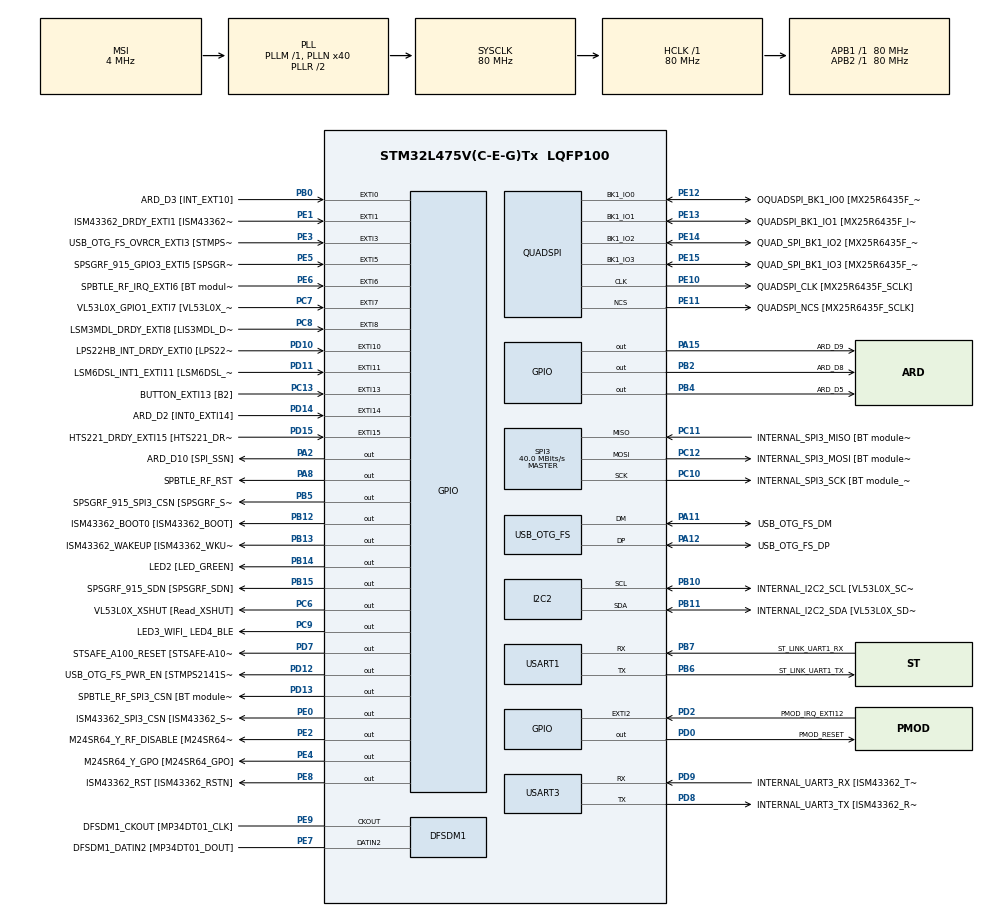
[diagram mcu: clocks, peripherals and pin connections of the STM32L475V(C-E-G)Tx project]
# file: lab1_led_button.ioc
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FREERTOS.BinarySemaphores01=buttonSem,Dynamic,NULL,Depleted;timerSem,Dynamic,NULL,Depleted;ledSem,Dynamic,NULL,Available
FREERTOS.Queues01=buttonTaskQueue,16,uint16_t,0,Dynamic,NULL,NULL
FREERTOS.Tasks01=Task1,24,128,StartTask1,Default,NULL,Dynamic,NULL,NULL;Task2,24,128,StartTask2,Default,NULL,Dynamic,NULL,NULL
I2C2.Timing=0x10D19CE4
Mcu.Family=STM32L4
Mcu.Name=STM32L475V(C-E-G)Tx
Mcu.Package=LQFP100
NVIC.EXTI15_10_IRQn=true\:5\:0\:false\:false\:true\:true\:true\:true\:true
NVIC.EXTI9_5_IRQn=true\:5\:0\:false\:false\:true\:true\:true\:true\:true
NVIC.PriorityGroup=NVIC_PRIORITYGROUP_4
NVIC.TIM6_DAC_IRQn=true\:15\:0\:false\:false\:true\:false\:false\:true\:true
NVIC.TIM7_IRQn=true\:5\:0\:false\:false\:true\:true\:true\:true\:true
NVIC.TimeBase=TIM6_DAC_IRQn
NVIC.TimeBaseIP=TIM6
PA0.GPIO_Label=ARD_D1 [UART4_TX]
PA0.Signal=UART4_TX
PA1.GPIO_Label=ARD_D0 [UART4_RX]
PA1.Signal=UART4_RX
PA10.GPIO_Label=USB_OTG_FS_ID
PA10.Signal=USB_OTG_FS_ID
PA11.GPIO_Label=USB_OTG_FS_DM
PA11.Mode=Device_Only
PA11.Signal=USB_OTG_FS_DM
PA12.GPIO_Label=USB_OTG_FS_DP
PA12.Mode=Device_Only
PA12.Signal=USB_OTG_FS_DP
PA13\ (JTMS-SWDIO).GPIO_Label=SYS_JTMS_SWDIO
PA13\ (JTMS-SWDIO).Mode=Serial_Wire
PA13\ (JTMS-SWDIO).Signal=SYS_JTMS-SWDIO
PA14\ (JTCK-SWCLK).GPIO_Label=SYS_JTCK_SWCLK
PA14\ (JTCK-SWCLK).Mode=Serial_Wire
PA14\ (JTCK-SWCLK).Signal=SYS_JTCK-SWCLK
PA15\ (JTDI).GPIO_Label=ARD_D9
PA15\ (JTDI).Signal=GPIO_Output
PA2.GPIO_Label=ARD_D10 [SPI_SSN]
PA2.Signal=GPIO_Output
PA3.GPIO_Label=ARD_D4
PA3.Signal=S_TIM2_CH4
PA4.GPIO_Label=ARD_D7
PA4.Signal=ADCx_IN9
PA5.GPIO_Label=ARD_D13 [SPI1_SCK]
PA5.Signal=SPI1_SCK
PA6.GPIO_Label=ARD_D12 [SPI1_MISO]
PA6.Signal=SPI1_MISO
PA7.GPIO_Label=ARD_D11 [SPI1_MOSI]
PA7.Signal=SPI1_MOSI
PA8.GPIO_Label=SPBTLE_RF_RST
PA8.Signal=GPIO_Output
PA9.GPIO_Label=USB_OTG_FS_VBUS [STMPS2141STR_OUT]
PA9.Signal=USB_OTG_FS_VBUS
PB0.GPIO_Label=ARD_D3 [INT_EXT10]
PB0.Signal=GPXTI0
PB1.GPIO_Label=ARD_D6 [ADC1_IN6]
PB1.Signal=ADCx_IN16
PB10.GPIO_Label=INTERNAL_I2C2_SCL [VL53L0X_SCL]
PB10.GPIO_Pu=GPIO_PULLUP
PB10.Mode=I2C
PB10.Signal=I2C2_SCL
PB11.GPIO_Label=INTERNAL_I2C2_SDA [VL53L0X_SDA]
PB11.GPIO_Pu=GPIO_PULLUP
PB11.Mode=I2C
PB11.Signal=I2C2_SDA
PB12.GPIO_Label=ISM43362_BOOT0 [ISM43362_BOOT]
PB12.Signal=GPIO_Output
PB13.GPIO_Label=ISM43362_WAKEUP [ISM43362_WKUP]
PB13.Signal=GPIO_Output
PB14.GPIO_Label=LED2 [LED_GREEN]
PB14.Signal=GPIO_Output
PB15.GPIO_Label=SPSGRF_915_SDN [SPSGRF_SDN]
PB15.Signal=GPIO_Output
PB2.GPIO_Label=ARD_D8
PB2.Signal=GPIO_Output
PB3\ (JTDO-TRACESWO).GPIO_Label=SYS_JTD0_SWO
PB3\ (JTDO-TRACESWO).Signal=SYS_JTDO-SWO
PB4\ (NJTRST).GPIO_Label=ARD_D5
PB4\ (NJTRST).Signal=GPIO_Output
PB5.GPIO_Label=SPSGRF_915_SPI3_CSN [SPSGRF_SPI_CS]
PB5.PinState=GPIO_PIN_SET
PB5.Signal=GPIO_Output
PB6.GPIO_Label=ST_LINK_UART1_TX
PB6.Mode=Asynchronous
PB6.Signal=USART1_TX
PB7.GPIO_Label=ST_LINK_UART1_RX
PB7.Mode=Asynchronous
PB7.Signal=USART1_RX
PB8.GPIO_Label=ARD_D15 [I2C1_SCL]
PB8.Signal=I2C1_SCL
PB9.GPIO_Label=ARD_D14 [I2C1_SDA]
PB9.Signal=I2C1_SDA
PC0.GPIO_Label=ARD_A5 [ADC]
PC0.Signal=ADCx_IN1
PC1.GPIO_Label=ARD_A4 [ADC]
PC1.Signal=ADCx_IN2
PC10.GPIO_Label=INTERNAL_SPI3_SCK [BT module_SPI_SCLK] [ISM43362_SCK]
PC10.Mode=Full_Duplex_Master
PC10.Signal=SPI3_SCK
PC11.GPIO_Label=INTERNAL_SPI3_MISO [BT module_SPI_MISO] [ISM43362_MISO]
PC11.Mode=Full_Duplex_Master
PC11.Signal=SPI3_MISO
PC12.GPIO_Label=INTERNAL_SPI3_MOSI [BT module_SPI_MOSI] [ISM43362_MOSI]
PC12.Mode=Full_Duplex_Master
PC12.Signal=SPI3_MOSI
PC13.GPIO_Label=BUTTON_EXTI13 [B2]
PC13.GPIO_ModeDefaultEXTI=GPIO_MODE_IT_RISING_FALLING
PC13.Signal=GPXTI13
PC14-OSC32_IN\ (PC14).Mode=LSE-External-Oscillator
PC14-OSC32_IN\ (PC14).Signal=RCC_OSC32_IN
PC15-OSC32_OUT\ (PC15).Mode=LSE-External-Oscillator
PC15-OSC32_OUT\ (PC15).Signal=RCC_OSC32_OUT
PC2.GPIO_Label=ARD_A3 [ADC]
PC2.Signal=ADCx_IN3
PC3.GPIO_Label=ARD_A2 [ADC]
PC3.Signal=ADCx_IN4
PC4.GPIO_Label=ARD_A1 [ADC]
PC4.Signal=ADCx_IN13
PC5.GPIO_Label=ARD_A0 [ADC]
PC5.Signal=ADCx_IN14
PC6.GPIO_Label=VL53L0X_XSHUT [Read_XSHUT]
PC6.Signal=GPIO_Output
PC7.GPIO_Label=VL53L0X_GPIO1_EXTI7 [VL53L0X_GPIO1]
PC7.Signal=GPXTI7
PC8.GPIO_Label=LSM3MDL_DRDY_EXTI8 [LIS3MDL_DRDY]
PC8.Signal=GPXTI8
PC9.GPIO_Label=LED3_WIFI_ LED4_BLE
PC9.Signal=GPIO_Output
PD0.GPIO_Label=PMOD_RESET
PD0.Signal=GPIO_Output
PD1.GPIO_Label=PMOD_SPI2_SCK
PD1.Signal=SPI2_SCK
PD10.GPIO_Label=LPS22HB_INT_DRDY_EXTI0 [LPS22HB_INT_DRDY] 
PD10.Signal=GPXTI10
PD11.GPIO_Label=LSM6DSL_INT1_EXTI11 [LSM6DSL_INT1]
PD11.Signal=GPXTI11
PD12.GPIO_Label=USB_OTG_FS_PWR_EN [STMPS2141STR_EN]
PD12.Signal=GPIO_Output
PD13.GPIO_Label=SPBTLE_RF_SPI3_CSN [BT module_SPI_CS]
PD13.PinState=GPIO_PIN_SET
PD13.Signal=GPIO_Output
PD14.GPIO_Label=ARD_D2 [INT0_EXTI14]
PD14.Signal=GPXTI14
PD15.GPIO_Label=HTS221_DRDY_EXTI15 [HTS221_DRDY]
PD15.Signal=GPXTI15
PD2.GPIO_Label=PMOD_IRQ_EXTI12
PD2.Signal=GPXTI2
PD3.GPIO_Label=PMOD_UART2_CTS
PD3.Signal=USART2_CTS
PD4.GPIO_Label=PMOD_UART2_RTS
PD4.Signal=USART2_RTS
PD5.GPIO_Label=PMOD_UART2_TX
PD5.Signal=USART2_TX
PD6.GPIO_Label=PMOD_UART2_RX
PD6.Signal=USART2_RX
PD7.GPIO_Label=STSAFE_A100_RESET [STSAFE-A100_RESET]
PD7.Signal=GPIO_Output
PD8.GPIO_Label=INTERNAL_UART3_TX [ISM43362_RX]
PD8.Mode=Asynchronous
PD8.Signal=USART3_TX
PD9.GPIO_Label=INTERNAL_UART3_RX [ISM43362_TX]
PD9.Mode=Asynchronous
PD9.Signal=USART3_RX
PE0.GPIO_Label=ISM43362_SPI3_CSN [ISM43362_SSN]
PE0.PinState=GPIO_PIN_SET
PE0.Signal=GPIO_Output
PE1.GPIO_Label=ISM43362_DRDY_EXTI1 [ISM43362_DATARDY]
PE1.Signal=GPXTI1
PE10.GPIO_Label=QUADSPI_CLK [MX25R6435F_SCLK]
PE10.Mode=Single Bank
PE10.Signal=QUADSPI_CLK
PE11.GPIO_Label=QUADSPI_NCS [MX25R6435F_SCLK]
PE11.Mode=Single Bank
PE11.Signal=QUADSPI_NCS
PE12.GPIO_Label=OQUADSPI_BK1_IO0 [MX25R6435F_IO0]
PE12.Mode=Single Bank
PE12.Signal=QUADSPI_BK1_IO0
PE13.GPIO_Label=QUADSPI_BK1_IO1 [MX25R6435F_IO1]
PE13.Mode=Single Bank
PE13.Signal=QUADSPI_BK1_IO1
PE14.GPIO_Label=QUAD_SPI_BK1_IO2 [MX25R6435F_IO2]
PE14.Mode=Single Bank
PE14.Signal=QUADSPI_BK1_IO2
PE15.GPIO_Label=QUAD_SPI_BK1_IO3 [MX25R6435F_IO3]
PE15.Mode=Single Bank
PE15.Signal=QUADSPI_BK1_IO3
PE2.GPIO_Label=M24SR64_Y_RF_DISABLE [M24SR64_RFDIS]
PE2.Signal=GPIO_Output
PE3.GPIO_Label=USB_OTG_FS_OVRCR_EXTI3 [STMPS2141STR_FAULT]
PE3.Signal=GPXTI3
PE4.GPIO_Label=M24SR64_Y_GPO [M24SR64_GPO]
PE4.Signal=GPIO_Output
PE5.GPIO_Label=SPSGRF_915_GPIO3_EXTI5 [SPSGRF_GPIO_3]
PE5.Signal=GPXTI5
PE6.GPIO_Label=SPBTLE_RF_IRQ_EXTI6 [BT module_SPI_IRQ]
PE6.Signal=GPXTI6
PE7.GPIO_Label=DFSDM1_DATIN2 [MP34DT01_DOUT]
PE7.Signal=S_DATAIN2DFSDM1
PE8.GPIO_Label=ISM43362_RST [ISM43362_RSTN]
PE8.Signal=GPIO_Output
PE9.GPIO_Label=DFSDM1_CKOUT [MP34DT01_CLK]
PE9.Signal=S_CKOUTDFSDM1
ProjectManager.HeapSize=0x200
ProjectManager.StackSize=0x400
ProjectManager.TargetToolchain=CMake
QUADSPI.ClockPrescaler=2
QUADSPI.FifoThreshold=4
QUADSPI.FlashSize=23
QUADSPI.SampleShifting=QSPI_SAMPLE_SHIFTING_HALFCYCLE
RCC.ADCFreq_Value=48000000
RCC.AHBFreq_Value=80000000
RCC.APB1Freq_Value=80000000
RCC.APB1TimFreq_Value=80000000
RCC.APB2Freq_Value=80000000
RCC.APB2TimFreq_Value=80000000
RCC.CortexFreq_Value=80000000
RCC.HCLKFreq_Value=80000000
RCC.HSE_VALUE=8000000
RCC.HSI_VALUE=16000000
RCC.MSI_VALUE=4000000
RCC.PLLN=40
RCC.PLLSAI1N=24
RCC.SYSCLKFreq_VALUE=80000000
RCC.SYSCLKSource=RCC_SYSCLKSOURCE_PLLCLK
RCC.USBFreq_Value=48000000
RCC.VCOOutputFreq_Value=160000000
SH.ADCx_IN1.0=ADC1_IN1
SH.ADCx_IN13.0=ADC1_IN13
SH.ADCx_IN14.0=ADC1_IN14
SH.ADCx_IN16.0=ADC1_IN16
SH.ADCx_IN2.0=ADC1_IN2
SH.ADCx_IN3.0=ADC1_IN3
SH.ADCx_IN4.0=ADC1_IN4
SH.ADCx_IN9.0=ADC1_IN9
SH.S_CKOUTDFSDM1.0=DFSDM1_CKOUT,CKOUT
SH.S_CKOUTDFSDM1.1=DFSDM1_CKOUT,PDM_SPI_Input_from_ch12_and_Internal_Clock
SH.S_DATAIN2DFSDM1.0=DFSDM1_DATIN2,PDM_SPI_Input_from_ch12_and_Internal_Clock
SH.S_TIM2_CH4.0=TIM2_CH4
SPI3.CalculateBaudRate=40.0 MBits/s
SPI3.Direction=SPI_DIRECTION_2LINES
SPI3.Mode=SPI_MODE_MASTER
SPI3.VirtualType=VM_MASTER
TIM7.Period=49999
TIM7.Prescaler=15999
USART1.VirtualMode-Asynchronous=VM_ASYNC
USART3.VirtualMode-Asynchronous=VM_ASYNC
USB_OTG_FS.VirtualMode=Device_Only
VP_FREERTOS_VS_CMSIS_V2.Mode=CMSIS_V2
VP_SYS_VS_tim6.Mode=TIM6
VP_TIM7_VS_ClockSourceINT.Mode=Enable_Timer
board=B-L475E-IOT01A1

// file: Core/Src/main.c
/* USER CODE BEGIN Header */
/**
  ******************************************************************************
  * @file           : main.c
  * @brief          : Main program body
  ******************************************************************************
  * @attention
  *
  * Copyright (c) 2026 STMicroelectronics.
  * All rights reserved.
  *
  * This software is licensed under terms that can be found in the LICENSE file
  * in the root directory of this software component.
  * If no LICENSE file comes with this software, it is provided AS-IS.
  *
  ******************************************************************************
  */
/* USER CODE END Header */
#include "main.h"
#include "cmsis_os.h"
#include "stm32l4xx_hal_gpio.h"

DFSDM_Channel_HandleTypeDef hdfsdm1_channel1;

I2C_HandleTypeDef hi2c2;

QSPI_HandleTypeDef hqspi;

SPI_HandleTypeDef hspi3;

TIM_HandleTypeDef htim7;

UART_HandleTypeDef huart1;
UART_HandleTypeDef huart3;

PCD_HandleTypeDef hpcd_USB_OTG_FS;

/* Definitions for Task1 */
osThreadId_t Task1Handle;
const osThreadAttr_t Task1_attributes = {
  .name = "Task1",
  .stack_size = 128 * 4,
  .priority = (osPriority_t) osPriorityNormal,
};
/* Definitions for Task2 */
osThreadId_t Task2Handle;
const osThreadAttr_t Task2_attributes = {
  .name = "Task2",
  .stack_size = 128 * 4,
  .priority = (osPriority_t) osPriorityNormal,
};
/* Definitions for buttonTaskQueue */
osMessageQueueId_t buttonTaskQueueHandle;
const osMessageQueueAttr_t buttonTaskQueue_attributes = {
  .name = "buttonTaskQueue"
};
/* Definitions for buttonSem */
osSemaphoreId_t buttonSemHandle;
const osSemaphoreAttr_t buttonSem_attributes = {
  .name = "buttonSem"
};
/* Definitions for timerSem */
osSemaphoreId_t timerSemHandle;
const osSemaphoreAttr_t timerSem_attributes = {
  .name = "timerSem"
};
/* Definitions for ledSem */
osSemaphoreId_t ledSemHandle;
const osSemaphoreAttr_t ledSem_attributes = {
  .name = "ledSem"
};

void SystemClock_Config(void);
static void MX_GPIO_Init(void);
static void MX_DFSDM1_Init(void);
static void MX_I2C2_Init(void);
static void MX_QUADSPI_Init(void);
static void MX_SPI3_Init(void);
static void MX_USART1_UART_Init(void);
static void MX_USART3_UART_Init(void);
static void MX_USB_OTG_FS_PCD_Init(void);
static void MX_TIM7_Init(void);
void StartTask1(void *argument);
void StartTask2(void *argument);

int main(void)
{

  /* MCU Configuration--------------------------------------------------------*/

  /* Reset of all peripherals, Initializes the Flash interface and the Systick. */
  HAL_Init();

  /* Configure the system clock */
  SystemClock_Config();

  /* Initialize all configured peripherals */
  MX_GPIO_Init();
  MX_DFSDM1_Init();
  MX_I2C2_Init();
  MX_QUADSPI_Init();
  MX_SPI3_Init();
  MX_USART1_UART_Init();
  MX_USART3_UART_Init();
  MX_USB_OTG_FS_PCD_Init();
  MX_TIM7_Init();

  /* Init scheduler */
  osKernelInitialize();

  /* Create the semaphores(s) */
  /* creation of buttonSem */
  buttonSemHandle = osSemaphoreNew(1, 0, &buttonSem_attributes);

  /* creation of timerSem */
  timerSemHandle = osSemaphoreNew(1, 0, &timerSem_attributes);

  /* creation of ledSem */
  ledSemHandle = osSemaphoreNew(1, 1, &ledSem_attributes);

  /* Create the queue(s) */
  /* creation of buttonTaskQueue */
  buttonTaskQueueHandle = osMessageQueueNew (16, sizeof(uint16_t), &buttonTaskQueue_attributes);

  /* Create the thread(s) */
  /* creation of Task1 */
  Task1Handle = osThreadNew(StartTask1, NULL, &Task1_attributes);

  /* creation of Task2 */
  Task2Handle = osThreadNew(StartTask2, NULL, &Task2_attributes);

  /* Start scheduler */
  osKernelStart();

  /* We should never get here as control is now taken by the scheduler */

  /* Infinite loop */
  while (1)
  {

  }
}

void SystemClock_Config(void)
{
  RCC_OscInitTypeDef RCC_OscInitStruct = {0};
  RCC_ClkInitTypeDef RCC_ClkInitStruct = {0};

  /** Configure the main internal regulator output voltage
  */
  if (HAL_PWREx_ControlVoltageScaling(PWR_REGULATOR_VOLTAGE_SCALE1) != HAL_OK)
  {
    Error_Handler();
  }

  /** Configure LSE Drive Capability
  */
  HAL_PWR_EnableBkUpAccess();
  __HAL_RCC_LSEDRIVE_CONFIG(RCC_LSEDRIVE_LOW);

  /** Initializes the RCC Oscillators according to the specified parameters
  * in the RCC_OscInitTypeDef structure.
  */
  RCC_OscInitStruct.OscillatorType = RCC_OSCILLATORTYPE_LSE|RCC_OSCILLATORTYPE_MSI;
  RCC_OscInitStruct.LSEState = RCC_LSE_ON;
  RCC_OscInitStruct.MSIState = RCC_MSI_ON;
  RCC_OscInitStruct.MSICalibrationValue = 0;
  RCC_OscInitStruct.MSIClockRange = RCC_MSIRANGE_6;
  RCC_OscInitStruct.PLL.PLLState = RCC_PLL_ON;
  RCC_OscInitStruct.PLL.PLLSource = RCC_PLLSOURCE_MSI;
  RCC_OscInitStruct.PLL.PLLM = 1;
  RCC_OscInitStruct.PLL.PLLN = 40;
  RCC_OscInitStruct.PLL.PLLP = RCC_PLLP_DIV7;
  RCC_OscInitStruct.PLL.PLLQ = RCC_PLLQ_DIV2;
  RCC_OscInitStruct.PLL.PLLR = RCC_PLLR_DIV2;
  if (HAL_RCC_OscConfig(&RCC_OscInitStruct) != HAL_OK)
  {
    Error_Handler();
  }

  /** Initializes the CPU, AHB and APB buses clocks
  */
  RCC_ClkInitStruct.ClockType = RCC_CLOCKTYPE_HCLK|RCC_CLOCKTYPE_SYSCLK
                              |RCC_CLOCKTYPE_PCLK1|RCC_CLOCKTYPE_PCLK2;
  RCC_ClkInitStruct.SYSCLKSource = RCC_SYSCLKSOURCE_PLLCLK;
  RCC_ClkInitStruct.AHBCLKDivider = RCC_SYSCLK_DIV1;
  RCC_ClkInitStruct.APB1CLKDivider = RCC_HCLK_DIV1;
  RCC_ClkInitStruct.APB2CLKDivider = RCC_HCLK_DIV1;

  if (HAL_RCC_ClockConfig(&RCC_ClkInitStruct, FLASH_LATENCY_4) != HAL_OK)
  {
    Error_Handler();
  }

  /** Enable MSI Auto calibration
  */
  HAL_RCCEx_EnableMSIPLLMode();
}

static void MX_DFSDM1_Init(void)
{

  hdfsdm1_channel1.Instance = DFSDM1_Channel1;
  hdfsdm1_channel1.Init.OutputClock.Activation = ENABLE;
  hdfsdm1_channel1.Init.OutputClock.Selection = DFSDM_CHANNEL_OUTPUT_CLOCK_SYSTEM;
  hdfsdm1_channel1.Init.OutputClock.Divider = 2;
  hdfsdm1_channel1.Init.Input.Multiplexer = DFSDM_CHANNEL_EXTERNAL_INPUTS;
  hdfsdm1_channel1.Init.Input.DataPacking = DFSDM_CHANNEL_STANDARD_MODE;
  hdfsdm1_channel1.Init.Input.Pins = DFSDM_CHANNEL_FOLLOWING_CHANNEL_PINS;
  hdfsdm1_channel1.Init.SerialInterface.Type = DFSDM_CHANNEL_SPI_RISING;
  hdfsdm1_channel1.Init.SerialInterface.SpiClock = DFSDM_CHANNEL_SPI_CLOCK_INTERNAL;
  hdfsdm1_channel1.Init.Awd.FilterOrder = DFSDM_CHANNEL_FASTSINC_ORDER;
  hdfsdm1_channel1.Init.Awd.Oversampling = 1;
  hdfsdm1_channel1.Init.Offset = 0;
  hdfsdm1_channel1.Init.RightBitShift = 0x00;
  if (HAL_DFSDM_ChannelInit(&hdfsdm1_channel1) != HAL_OK)
  {
    Error_Handler();
  }

}

static void MX_I2C2_Init(void)
{

  hi2c2.Instance = I2C2;
  hi2c2.Init.Timing = 0x10D19CE4;
  hi2c2.Init.OwnAddress1 = 0;
  hi2c2.Init.AddressingMode = I2C_ADDRESSINGMODE_7BIT;
  hi2c2.Init.DualAddressMode = I2C_DUALADDRESS_DISABLE;
  hi2c2.Init.OwnAddress2 = 0;
  hi2c2.Init.OwnAddress2Masks = I2C_OA2_NOMASK;
  hi2c2.Init.GeneralCallMode = I2C_GENERALCALL_DISABLE;
  hi2c2.Init.NoStretchMode = I2C_NOSTRETCH_DISABLE;
  if (HAL_I2C_Init(&hi2c2) != HAL_OK)
  {
    Error_Handler();
  }

  /** Configure Analogue filter
  */
  if (HAL_I2CEx_ConfigAnalogFilter(&hi2c2, I2C_ANALOGFILTER_ENABLE) != HAL_OK)
  {
    Error_Handler();
  }

  /** Configure Digital filter
  */
  if (HAL_I2CEx_ConfigDigitalFilter(&hi2c2, 0) != HAL_OK)
  {
    Error_Handler();
  }

}

static void MX_QUADSPI_Init(void)
{

  /* QUADSPI parameter configuration*/
  hqspi.Instance = QUADSPI;
  hqspi.Init.ClockPrescaler = 2;
  hqspi.Init.FifoThreshold = 4;
  hqspi.Init.SampleShifting = QSPI_SAMPLE_SHIFTING_HALFCYCLE;
  hqspi.Init.FlashSize = 23;
  hqspi.Init.ChipSelectHighTime = QSPI_CS_HIGH_TIME_1_CYCLE;
  hqspi.Init.ClockMode = QSPI_CLOCK_MODE_0;
  if (HAL_QSPI_Init(&hqspi) != HAL_OK)
  {
    Error_Handler();
  }

}

static void MX_SPI3_Init(void)
{

  /* SPI3 parameter configuration*/
  hspi3.Instance = SPI3;
  hspi3.Init.Mode = SPI_MODE_MASTER;
  hspi3.Init.Direction = SPI_DIRECTION_2LINES;
  hspi3.Init.DataSize = SPI_DATASIZE_4BIT;
  hspi3.Init.CLKPolarity = SPI_POLARITY_LOW;
  hspi3.Init.CLKPhase = SPI_PHASE_1EDGE;
  hspi3.Init.NSS = SPI_NSS_SOFT;
  hspi3.Init.BaudRatePrescaler = SPI_BAUDRATEPRESCALER_2;
  hspi3.Init.FirstBit = SPI_FIRSTBIT_MSB;
  hspi3.Init.TIMode = SPI_TIMODE_DISABLE;
  hspi3.Init.CRCCalculation = SPI_CRCCALCULATION_DISABLE;
  hspi3.Init.CRCPolynomial = 7;
  hspi3.Init.CRCLength = SPI_CRC_LENGTH_DATASIZE;
  hspi3.Init.NSSPMode = SPI_NSS_PULSE_ENABLE;
  if (HAL_SPI_Init(&hspi3) != HAL_OK)
  {
    Error_Handler();
  }

}

static void MX_TIM7_Init(void)
{

  TIM_MasterConfigTypeDef sMasterConfig = {0};

  htim7.Instance = TIM7;
  htim7.Init.Prescaler = 15999;
  htim7.Init.CounterMode = TIM_COUNTERMODE_UP;
  htim7.Init.Period = 49999;
  htim7.Init.AutoReloadPreload = TIM_AUTORELOAD_PRELOAD_DISABLE;
  if (HAL_TIM_Base_Init(&htim7) != HAL_OK)
  {
    Error_Handler();
  }
  sMasterConfig.MasterOutputTrigger = TIM_TRGO_RESET;
  sMasterConfig.MasterSlaveMode = TIM_MASTERSLAVEMODE_DISABLE;
  if (HAL_TIMEx_MasterConfigSynchronization(&htim7, &sMasterConfig) != HAL_OK)
  {
    Error_Handler();
  }

}

static void MX_USART1_UART_Init(void)
{

  huart1.Instance = USART1;
  huart1.Init.BaudRate = 115200;
  huart1.Init.WordLength = UART_WORDLENGTH_8B;
  huart1.Init.StopBits = UART_STOPBITS_1;
  huart1.Init.Parity = UART_PARITY_NONE;
  huart1.Init.Mode = UART_MODE_TX_RX;
  huart1.Init.HwFlowCtl = UART_HWCONTROL_NONE;
  huart1.Init.OverSampling = UART_OVERSAMPLING_16;
  huart1.Init.OneBitSampling = UART_ONE_BIT_SAMPLE_DISABLE;
  huart1.AdvancedInit.AdvFeatureInit = UART_ADVFEATURE_NO_INIT;
  if (HAL_UART_Init(&huart1) != HAL_OK)
  {
    Error_Handler();
  }

}

static void MX_USART3_UART_Init(void)
{

  huart3.Instance = USART3;
  huart3.Init.BaudRate = 115200;
  huart3.Init.WordLength = UART_WORDLENGTH_8B;
  huart3.Init.StopBits = UART_STOPBITS_1;
  huart3.Init.Parity = UART_PARITY_NONE;
  huart3.Init.Mode = UART_MODE_TX_RX;
  huart3.Init.HwFlowCtl = UART_HWCONTROL_NONE;
  huart3.Init.OverSampling = UART_OVERSAMPLING_16;
  huart3.Init.OneBitSampling = UART_ONE_BIT_SAMPLE_DISABLE;
  huart3.AdvancedInit.AdvFeatureInit = UART_ADVFEATURE_NO_INIT;
  if (HAL_UART_Init(&huart3) != HAL_OK)
  {
    Error_Handler();
  }

}

static void MX_USB_OTG_FS_PCD_Init(void)
{

  hpcd_USB_OTG_FS.Instance = USB_OTG_FS;
  hpcd_USB_OTG_FS.Init.dev_endpoints = 6;
  hpcd_USB_OTG_FS.Init.speed = PCD_SPEED_FULL;
  hpcd_USB_OTG_FS.Init.phy_itface = PCD_PHY_EMBEDDED;
  hpcd_USB_OTG_FS.Init.Sof_enable = DISABLE;
  hpcd_USB_OTG_FS.Init.low_power_enable = DISABLE;
  hpcd_USB_OTG_FS.Init.lpm_enable = DISABLE;
  hpcd_USB_OTG_FS.Init.battery_charging_enable = DISABLE;
  hpcd_USB_OTG_FS.Init.use_dedicated_ep1 = DISABLE;
  hpcd_USB_OTG_FS.Init.vbus_sensing_enable = DISABLE;
  if (HAL_PCD_Init(&hpcd_USB_OTG_FS) != HAL_OK)
  {
    Error_Handler();
  }

}

static void MX_GPIO_Init(void)
{
  GPIO_InitTypeDef GPIO_InitStruct = {0};

  /* GPIO Ports Clock Enable */
  __HAL_RCC_GPIOE_CLK_ENABLE();
  __HAL_RCC_GPIOC_CLK_ENABLE();
  __HAL_RCC_GPIOA_CLK_ENABLE();
  __HAL_RCC_GPIOB_CLK_ENABLE();
  __HAL_RCC_GPIOD_CLK_ENABLE();

  /*Configure GPIO pin Output Level */
  HAL_GPIO_WritePin(GPIOE, M24SR64_Y_RF_DISABLE_Pin|M24SR64_Y_GPO_Pin|ISM43362_RST_Pin, GPIO_PIN_RESET);

  /*Configure GPIO pin Output Level */
  HAL_GPIO_WritePin(GPIOA, ARD_D10_Pin|SPBTLE_RF_RST_Pin|ARD_D9_Pin, GPIO_PIN_RESET);

  /*Configure GPIO pin Output Level */
  HAL_GPIO_WritePin(GPIOB, ARD_D8_Pin|ISM43362_BOOT0_Pin|ISM43362_WAKEUP_Pin|LED2_Pin
                          |SPSGRF_915_SDN_Pin|ARD_D5_Pin, GPIO_PIN_RESET);

  /*Configure GPIO pin Output Level */
  HAL_GPIO_WritePin(GPIOD, USB_OTG_FS_PWR_EN_Pin|PMOD_RESET_Pin|STSAFE_A100_RESET_Pin, GPIO_PIN_RESET);

  /*Configure GPIO pin Output Level */
  HAL_GPIO_WritePin(SPBTLE_RF_SPI3_CSN_GPIO_Port, SPBTLE_RF_SPI3_CSN_Pin, GPIO_PIN_SET);

  /*Configure GPIO pin Output Level */
  HAL_GPIO_WritePin(GPIOC, VL53L0X_XSHUT_Pin|LED3_WIFI__LED4_BLE_Pin, GPIO_PIN_RESET);

  /*Configure GPIO pin Output Level */
  HAL_GPIO_WritePin(SPSGRF_915_SPI3_CSN_GPIO_Port, SPSGRF_915_SPI3_CSN_Pin, GPIO_PIN_SET);

  /*Configure GPIO pin Output Level */
  HAL_GPIO_WritePin(ISM43362_SPI3_CSN_GPIO_Port, ISM43362_SPI3_CSN_Pin, GPIO_PIN_SET);

  /*Configure GPIO pins : M24SR64_Y_RF_DISABLE_Pin M24SR64_Y_GPO_Pin ISM43362_RST_Pin ISM43362_SPI3_CSN_Pin */
  GPIO_InitStruct.Pin = M24SR64_Y_RF_DISABLE_Pin|M24SR64_Y_GPO_Pin|ISM43362_RST_Pin|ISM43362_SPI3_CSN_Pin;
  GPIO_InitStruct.Mode = GPIO_MODE_OUTPUT_PP;
  GPIO_InitStruct.Pull = GPIO_NOPULL;
  GPIO_InitStruct.Speed = GPIO_SPEED_FREQ_LOW;
  HAL_GPIO_Init(GPIOE, &GPIO_InitStruct);

  /*Configure GPIO pins : USB_OTG_FS_OVRCR_EXTI3_Pin SPSGRF_915_GPIO3_EXTI5_Pin SPBTLE_RF_IRQ_EXTI6_Pin ISM43362_DRDY_EXTI1_Pin */
  GPIO_InitStruct.Pin = USB_OTG_FS_OVRCR_EXTI3_Pin|SPSGRF_915_GPIO3_EXTI5_Pin|SPBTLE_RF_IRQ_EXTI6_Pin|ISM43362_DRDY_EXTI1_Pin;
  GPIO_InitStruct.Mode = GPIO_MODE_IT_RISING;
  GPIO_InitStruct.Pull = GPIO_NOPULL;
  HAL_GPIO_Init(GPIOE, &GPIO_InitStruct);

  /*Configure GPIO pin : BUTTON_EXTI13_Pin */
  GPIO_InitStruct.Pin = BUTTON_EXTI13_Pin;
  GPIO_InitStruct.Mode = GPIO_MODE_IT_RISING_FALLING;
  GPIO_InitStruct.Pull = GPIO_NOPULL;
  HAL_GPIO_Init(BUTTON_EXTI13_GPIO_Port, &GPIO_InitStruct);

  /*Configure GPIO pins : ARD_A5_Pin ARD_A4_Pin ARD_A3_Pin ARD_A2_Pin
                           ARD_A1_Pin ARD_A0_Pin */
  GPIO_InitStruct.Pin = ARD_A5_Pin|ARD_A4_Pin|ARD_A3_Pin|ARD_A2_Pin
                          |ARD_A1_Pin|ARD_A0_Pin;
  GPIO_InitStruct.Mode = GPIO_MODE_ANALOG_ADC_CONTROL;
  GPIO_InitStruct.Pull = GPIO_NOPULL;
  HAL_GPIO_Init(GPIOC, &GPIO_InitStruct);

  /*Configure GPIO pins : ARD_D1_Pin ARD_D0_Pin */
  GPIO_InitStruct.Pin = ARD_D1_Pin|ARD_D0_Pin;
  GPIO_InitStruct.Mode = GPIO_MODE_AF_PP;
  GPIO_InitStruct.Pull = GPIO_NOPULL;
  GPIO_InitStruct.Speed = GPIO_SPEED_FREQ_VERY_HIGH;
  GPIO_InitStruct.Alternate = GPIO_AF8_UART4;
  HAL_GPIO_Init(GPIOA, &GPIO_InitStruct);

  /*Configure GPIO pins : ARD_D10_Pin SPBTLE_RF_RST_Pin ARD_D9_Pin */
  GPIO_InitStruct.Pin = ARD_D10_Pin|SPBTLE_RF_RST_Pin|ARD_D9_Pin;
  GPIO_InitStruct.Mode = GPIO_MODE_OUTPUT_PP;
  GPIO_InitStruct.Pull = GPIO_NOPULL;
  GPIO_InitStruct.Speed = GPIO_SPEED_FREQ_LOW;
  HAL_GPIO_Init(GPIOA, &GPIO_InitStruct);

  /*Configure GPIO pin : ARD_D4_Pin */
  GPIO_InitStruct.Pin = ARD_D4_Pin;
  GPIO_InitStruct.Mode = GPIO_MODE_AF_PP;
  GPIO_InitStruct.Pull = GPIO_NOPULL;
  GPIO_InitStruct.Speed = GPIO_SPEED_FREQ_LOW;
  GPIO_InitStruct.Alternate = GPIO_AF1_TIM2;
  HAL_GPIO_Init(ARD_D4_GPIO_Port, &GPIO_InitStruct);

  /*Configure GPIO pin : ARD_D7_Pin */
  GPIO_InitStruct.Pin = ARD_D7_Pin;
  GPIO_InitStruct.Mode = GPIO_MODE_ANALOG_ADC_CONTROL;
  GPIO_InitStruct.Pull = GPIO_NOPULL;
  HAL_GPIO_Init(ARD_D7_GPIO_Port, &GPIO_InitStruct);

  /*Configure GPIO pins : ARD_D13_Pin ARD_D12_Pin ARD_D11_Pin */
  GPIO_InitStruct.Pin = ARD_D13_Pin|ARD_D12_Pin|ARD_D11_Pin;
  GPIO_InitStruct.Mode = GPIO_MODE_AF_PP;
  GPIO_InitStruct.Pull = GPIO_NOPULL;
  GPIO_InitStruct.Speed = GPIO_SPEED_FREQ_VERY_HIGH;
  GPIO_InitStruct.Alternate = GPIO_AF5_SPI1;
  HAL_GPIO_Init(GPIOA, &GPIO_InitStruct);

  /*Configure GPIO pin : ARD_D3_Pin */
  GPIO_InitStruct.Pin = ARD_D3_Pin;
  GPIO_InitStruct.Mode = GPIO_MODE_IT_RISING;
  GPIO_InitStruct.Pull = GPIO_NOPULL;
  HAL_GPIO_Init(ARD_D3_GPIO_Port, &GPIO_InitStruct);

  /*Configure GPIO pin : ARD_D6_Pin */
  GPIO_InitStruct.Pin = ARD_D6_Pin;
  GPIO_InitStruct.Mode = GPIO_MODE_ANALOG_ADC_CONTROL;
  GPIO_InitStruct.Pull = GPIO_NOPULL;
  HAL_GPIO_Init(ARD_D6_GPIO_Port, &GPIO_InitStruct);

  /*Configure GPIO pins : ARD_D8_Pin ISM43362_BOOT0_Pin ISM43362_WAKEUP_Pin LED2_Pin
                           SPSGRF_915_SDN_Pin ARD_D5_Pin SPSGRF_915_SPI3_CSN_Pin */
  GPIO_InitStruct.Pin = ARD_D8_Pin|ISM43362_BOOT0_Pin|ISM43362_WAKEUP_Pin|LED2_Pin
                          |SPSGRF_915_SDN_Pin|ARD_D5_Pin|SPSGRF_915_SPI3_CSN_Pin;
  GPIO_InitStruct.Mode = GPIO_MODE_OUTPUT_PP;
  GPIO_InitStruct.Pull = GPIO_NOPULL;
  GPIO_InitStruct.Speed = GPIO_SPEED_FREQ_LOW;
  HAL_GPIO_Init(GPIOB, &GPIO_InitStruct);

  /*Configure GPIO pins : LPS22HB_INT_DRDY_EXTI0_Pin LSM6DSL_INT1_EXTI11_Pin ARD_D2_Pin HTS221_DRDY_EXTI15_Pin
                           PMOD_IRQ_EXTI12_Pin */
  GPIO_InitStruct.Pin = LPS22HB_INT_DRDY_EXTI0_Pin|LSM6DSL_INT1_EXTI11_Pin|ARD_D2_Pin|HTS221_DRDY_EXTI15_Pin
                          |PMOD_IRQ_EXTI12_Pin;
  GPIO_InitStruct.Mode = GPIO_MODE_IT_RISING;
  GPIO_InitStruct.Pull = GPIO_NOPULL;
  HAL_GPIO_Init(GPIOD, &GPIO_InitStruct);

  /*Configure GPIO pins : USB_OTG_FS_PWR_EN_Pin SPBTLE_RF_SPI3_CSN_Pin PMOD_RESET_Pin STSAFE_A100_RESET_Pin */
  GPIO_InitStruct.Pin = USB_OTG_FS_PWR_EN_Pin|SPBTLE_RF_SPI3_CSN_Pin|PMOD_RESET_Pin|STSAFE_A100_RESET_Pin;
  GPIO_InitStruct.Mode = GPIO_MODE_OUTPUT_PP;
  GPIO_InitStruct.Pull = GPIO_NOPULL;
  GPIO_InitStruct.Speed = GPIO_SPEED_FREQ_LOW;
  HAL_GPIO_Init(GPIOD, &GPIO_InitStruct);

  /*Configure GPIO pins : VL53L0X_XSHUT_Pin LED3_WIFI__LED4_BLE_Pin */
  GPIO_InitStruct.Pin = VL53L0X_XSHUT_Pin|LED3_WIFI__LED4_BLE_Pin;
  GPIO_InitStruct.Mode = GPIO_MODE_OUTPUT_PP;
  GPIO_InitStruct.Pull = GPIO_NOPULL;
  GPIO_InitStruct.Speed = GPIO_SPEED_FREQ_LOW;
  HAL_GPIO_Init(GPIOC, &GPIO_InitStruct);

  /*Configure GPIO pins : VL53L0X_GPIO1_EXTI7_Pin LSM3MDL_DRDY_EXTI8_Pin */
  GPIO_InitStruct.Pin = VL53L0X_GPIO1_EXTI7_Pin|LSM3MDL_DRDY_EXTI8_Pin;
  GPIO_InitStruct.Mode = GPIO_MODE_IT_RISING;
  GPIO_InitStruct.Pull = GPIO_NOPULL;
  HAL_GPIO_Init(GPIOC, &GPIO_InitStruct);

  /*Configure GPIO pin : PMOD_SPI2_SCK_Pin */
  GPIO_InitStruct.Pin = PMOD_SPI2_SCK_Pin;
  GPIO_InitStruct.Mode = GPIO_MODE_AF_PP;
  GPIO_InitStruct.Pull = GPIO_NOPULL;
  GPIO_InitStruct.Speed = GPIO_SPEED_FREQ_VERY_HIGH;
  GPIO_InitStruct.Alternate = GPIO_AF5_SPI2;
  HAL_GPIO_Init(PMOD_SPI2_SCK_GPIO_Port, &GPIO_InitStruct);

  /*Configure GPIO pins : PMOD_UART2_CTS_Pin PMOD_UART2_RTS_Pin PMOD_UART2_TX_Pin PMOD_UART2_RX_Pin */
  GPIO_InitStruct.Pin = PMOD_UART2_CTS_Pin|PMOD_UART2_RTS_Pin|PMOD_UART2_TX_Pin|PMOD_UART2_RX_Pin;
  GPIO_InitStruct.Mode = GPIO_MODE_AF_PP;
  GPIO_InitStruct.Pull = GPIO_NOPULL;
  GPIO_InitStruct.Speed = GPIO_SPEED_FREQ_VERY_HIGH;
  GPIO_InitStruct.Alternate = GPIO_AF7_USART2;
  HAL_GPIO_Init(GPIOD, &GPIO_InitStruct);

  /*Configure GPIO pins : ARD_D15_Pin ARD_D14_Pin */
  GPIO_InitStruct.Pin = ARD_D15_Pin|ARD_D14_Pin;
  GPIO_InitStruct.Mode = GPIO_MODE_AF_OD;
  GPIO_InitStruct.Pull = GPIO_NOPULL;
  GPIO_InitStruct.Speed = GPIO_SPEED_FREQ_VERY_HIGH;
  GPIO_InitStruct.Alternate = GPIO_AF4_I2C1;
  HAL_GPIO_Init(GPIOB, &GPIO_InitStruct);

  /* EXTI interrupt init*/
  HAL_NVIC_SetPriority(EXTI9_5_IRQn, 5, 0);
  HAL_NVIC_EnableIRQ(EXTI9_5_IRQn);

  HAL_NVIC_SetPriority(EXTI15_10_IRQn, 5, 0);
  HAL_NVIC_EnableIRQ(EXTI15_10_IRQn);

}

/* USER CODE BEGIN 4 */

static void BlinkLED2(uint32_t freq, uint32_t duration){
  if(freq == 0 || duration == 0){
    return;
  }
  osSemaphoreAcquire(ledSemHandle, osWaitForever);
  uint32_t tick_freq = osKernelGetTickFreq();
  uint32_t half_period_ticks = tick_freq / (2U * freq);
  uint32_t nxt = osKernelGetTickCount();
  HAL_GPIO_WritePin(LED2_GPIO_Port, LED2_Pin, GPIO_PIN_RESET);
  for(uint32_t i = 0; i < 2U * freq * duration; i++){
    HAL_GPIO_TogglePin(LED2_GPIO_Port, LED2_Pin);
    nxt += half_period_ticks;
    osDelayUntil(nxt);
  }
  HAL_GPIO_WritePin(LED2_GPIO_Port, LED2_Pin, GPIO_PIN_RESET);
  osSemaphoreRelease(ledSemHandle);
}

#define BUTTON_NORMAL 1U
#define BUTTON_LONG 2U

void HAL_GPIO_EXTI_Callback(uint16_t GPIO_Pin)
{
  /* for basic problem */
  // osSemaphoreRelease(buttonSemHandle);

  /* for option problem_A */
  if(GPIO_Pin != BUTTON_EXTI13_Pin){
    return;
  }
  static int start = -1;
  static uint32_t last_edge = 0;

  uint32_t now = HAL_GetTick();
  if (last_edge != 0U && (now - last_edge) < 30U){
    return;
  }
  last_edge = now;

  GPIO_PinState state = HAL_GPIO_ReadPin(BUTTON_EXTI13_GPIO_Port, BUTTON_EXTI13_Pin);
  if(state == GPIO_PIN_RESET){ // falling edge
    start = now;
  }
  else if(start != -1){
    uint32_t duration = now - start;
    start = -1;
    uint16_t event = (duration > 1000U ? BUTTON_LONG : BUTTON_NORMAL);
    osMessageQueuePut(buttonTaskQueueHandle, &event, 0U, 0);
  }
}
/* USER CODE END 4 */

void StartTask1(void *argument)
{
  /* USER CODE BEGIN 5 */
  /* Infinite loop */
  for(;;)
  {
    /* for basic problem */
    // osSemaphoreAcquire(buttonSemHandle, osWaitForever);
    // BlinkLED2(1, 5);

    /* for option problem_A */
    uint16_t mode;
    osMessageQueueGet(buttonTaskQueueHandle, &mode, NULL, osWaitForever);
    if(mode == BUTTON_NORMAL) BlinkLED2(1, 5);
    else if(mode == BUTTON_LONG) BlinkLED2(10, 5);
  }
  /* USER CODE END 5 */
}

void StartTask2(void *argument)
{
  /* USER CODE BEGIN StartTask2 */
  if(HAL_TIM_Base_Start_IT(&htim7) != HAL_OK){
    Error_Handler();
  }
  /* Infinite loop */
  for(;;)
  {
    osSemaphoreAcquire(timerSemHandle, osWaitForever);
    BlinkLED2(10, 2);
  }
  /* USER CODE END StartTask2 */
}

void HAL_TIM_PeriodElapsedCallback(TIM_HandleTypeDef *htim)
{
  if (htim->Instance == TIM6)
  {
    HAL_IncTick();
  }
  /* USER CODE BEGIN Callback 1 */
  if (htim->Instance == TIM7)
  {
    osSemaphoreRelease(timerSemHandle);
  }
  /* USER CODE END Callback 1 */
}

void Error_Handler(void)
{
  __disable_irq();
  while (1)
  {
  }
}
